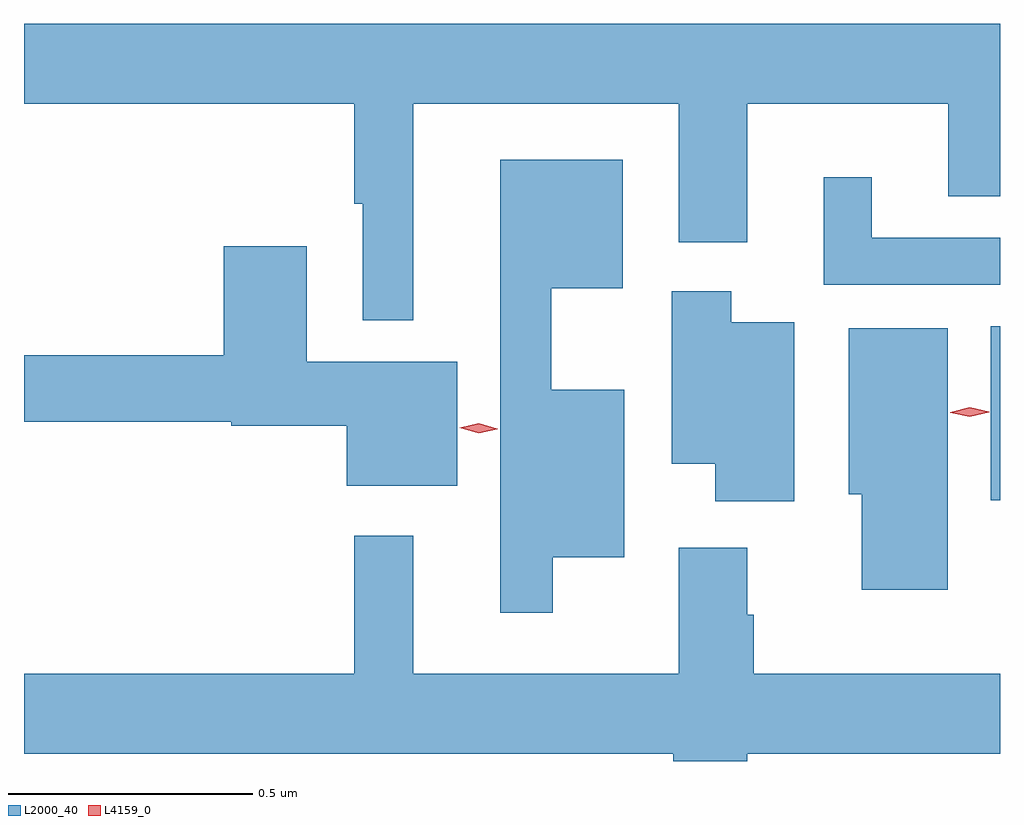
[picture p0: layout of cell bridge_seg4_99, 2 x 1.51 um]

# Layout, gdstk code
import gdstk
lib = gdstk.Library(unit=1e-6, precision=1e-09)
def R(c, l, rs):  # rectangles x0, y0, x1, y1
    for r in rs: c.add(gdstk.rectangle(r[:2], r[2:], *l))
def P(c, l, *ps):  # polygons
    for p in ps: c.add(gdstk.Polygon(p, *l))
L2000_40 = (2000, 40)
L4159_0 = (4159, 0)

bridge_seg4_99 = lib.new_cell('bridge_seg4_99')
R(bridge_seg4_99, L2000_40, [(457.28,798.671,457.299,799.028)])
P(bridge_seg4_99, L2000_40, [(456.097,799.484),(456.641,799.484),(456.641,799.2),(456.781,799.2),(456.781,799.484),(457.193,799.484),(457.193,799.294),(457.299,799.294),(457.299,799.648),(455.299,799.648),(455.299,799.484),(455.976,799.484),(455.976,799.279),(455.993,799.279),(455.993,799.04),(456.097,799.04)],
  [(456.382,798.554),(456.529,798.554),(456.529,798.898),(456.379,798.898),(456.379,799.106),(456.526,799.106),(456.526,799.369),(456.275,799.369),(456.275,798.441),(456.382,798.441)],
  [(457.299,799.209),(457.036,799.209),(457.036,799.333),(456.938,799.333),(456.938,799.113),(457.299,799.113)],
  [(456.187,798.955),(455.878,798.955),(455.878,799.192),(455.708,799.192),(455.708,798.968),(455.299,798.968),(455.299,798.832),(455.724,798.832),(455.724,798.824),(455.96,798.824),(455.96,798.701),(456.187,798.701)],
  [(456.877,799.036),(456.748,799.036),(456.748,799.099),(456.626,799.099),(456.626,798.746),(456.716,798.746),(456.716,798.669),(456.877,798.669)],
  [(457.192,799.024),(456.989,799.024),(456.989,798.684),(457.016,798.684),(457.016,798.488),(457.192,798.488)],
  [(456.781,798.152),(457.299,798.152),(457.299,798.316),(456.794,798.316),(456.794,798.437),(456.781,798.437),(456.781,798.574),(456.641,798.574),(456.641,798.316),(456.097,798.316),(456.097,798.598),(455.976,798.598),(455.976,798.316),(455.299,798.316),(455.299,798.152),(456.629,798.152),(456.629,798.136),(456.781,798.136)])
P(bridge_seg4_99, L4159_0, [(457.237,798.842),(457.197,798.851),(457.197,798.852),(457.197,798.852),(457.237,798.862),(457.277,798.853),(457.277,798.853),(457.277,798.852)],
  [(456.231,798.809),(456.192,798.82),(456.192,798.82),(456.192,798.82),(456.231,798.829),(456.269,798.818),(456.27,798.818),(456.269,798.817)])

lib.write_gds('bridge_seg4_99.gds')
